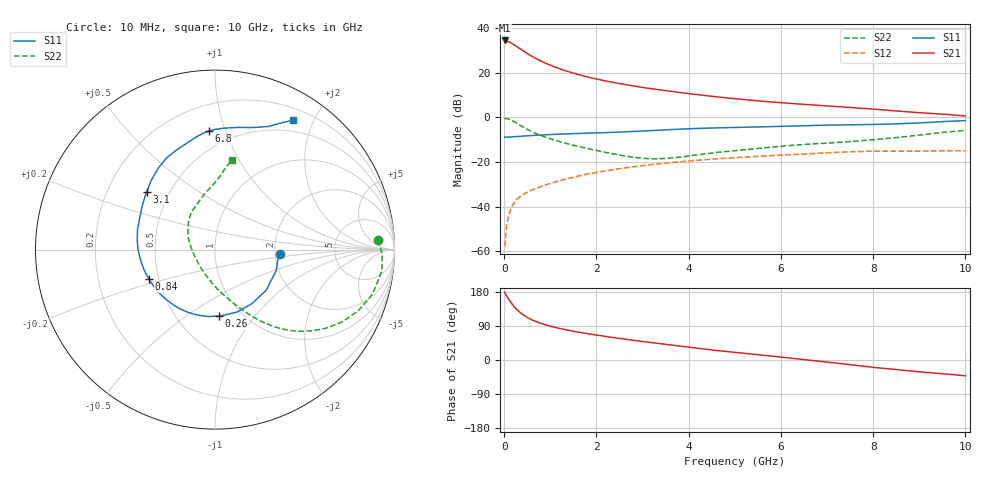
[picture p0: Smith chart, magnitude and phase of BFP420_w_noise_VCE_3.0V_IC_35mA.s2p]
! Infineon Technologies  Discrete & RF Semiconductors
! BFP420
! VCE =  3.0 V,  IC =  35 mA
! Common Emitter S-Parameters:  Jan 2016
# GHz  S  MA  R  50
!  f  S11  S21  S12  S22
! GHz  MAG  ANG  MAG  ANG  MAG  ANG  MAG  ANG
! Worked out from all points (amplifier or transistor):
!   233 points, 10 MHz to 10 GHz, reference 50 ohm
!   highest |S21| = 34.4 dB at 10 MHz (marker M1)
!   |S21| within 3 dB of that: start of sweep to 292.6 MHz
!   unconditionally stable (mu >= 1): start of sweep to 13.1 MHz; 1.459 GHz to end of sweep
!   at 200 MHz: K = 0.33, MSG = 35.8 dB, |S12| = -38.8 dB
!   at 1.74 GHz: K = 1.05, MAG = 20.8 dB, |S12| = -25.7 dB
!   at 10 GHz: K = 1.06, MAG = 6.3 dB, |S12| = -14.9 dB
!   lowest NFmin = 1.64 dB at 900 MHz
!   S11 on the Smith chart (normalised r, x): 10 MHz: 2.13, -0.11; 260 MHz: 0.79, -0.68; 840 MHz: 0.44, -0.17; 3.1 GHz: 0.37, +0.32; 6.8 GHz: 0.38, +0.88; 10 GHz: 0.35, +1.72
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0.01  0.3623 -3.7  52.67 179.0  0.0013 87.2  0.9122 3.4
0.02  0.3552 -8.0  51.51 175.8  0.0015 91.4  0.9322 -1.9
0.075  0.357 -29.0  49.92 165.0  0.0049 80.1  0.9224 -11.3
0.1  0.3641 -38.6  49.27 160.1  0.0063 78.7  0.9127 -15.6
0.145  0.363 -54.1  46.71 152.0  0.0089 74.1  0.8722 -22.3
0.2  0.369 -70.6  43.32 143.2  0.0115 70.1  0.8154 -29.6
0.26  0.3701 -86.3  39.28 135.0  0.014 66.8  0.7497 -36.0
0.3  0.3747 -95.4  36.86 130.0  0.0154 64.9  0.7073 -39.8
0.36  0.3779 -106.8  33.4 123.8  0.0173 63.0  0.6487 -44.5
0.42  0.3811 -116.3  30.33 118.4  0.019 61.7  0.5969 -48.4
0.5  0.386 -127.1  26.8 112.3  0.0211 60.5  0.5371 -52.8
0.64  0.3926 -141.2  22.07 104.0  0.0245 59.8  0.4575 -58.4
0.84  0.4024 -155.7  17.34 94.9  0.0293 59.7  0.377 -64.9
1.2  0.4201 -173.0  12.25 83.2  0.038 59.3  0.2856 -74.9
1.68  0.4381 171.5  8.683 72.0  0.0502 57.4  0.2142 -87.6
2.2  0.454 158.2  6.521 62.0  0.0634 53.9  0.1639 -103.2
3.1  0.4988 139.6  4.513 47.5  0.0852 46.0  0.119 -143.8
3.4  0.5184 134.0  4.076 42.9  0.0921 43.2  0.1184 -160.1
5.1  0.5951 111.1  2.551 19.0  0.1267 26.9  0.1841 145.1
6.8  0.6607 92.8  1.859 -2.7  0.157 10.9  0.257 117.3
8.4  0.7084 73.7  1.416 -24.3  0.1751 -7.1  0.3428 94.7
10  0.8432 58.8  1.073 -41.6  0.179 -19.6  0.5104 79.3
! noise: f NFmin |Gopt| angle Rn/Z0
0.9  1.64  0.3  -155  0.13
1.8  1.9  0.37  -142  0.15
2.4  2.1  0.34  -134  0.19
3  2.11  0.4  -126  0.22
4  2.25  0.5  -110  0.35
5  2.73  0.54  -94  0.59
6  3.16  0.59  -82  0.84
